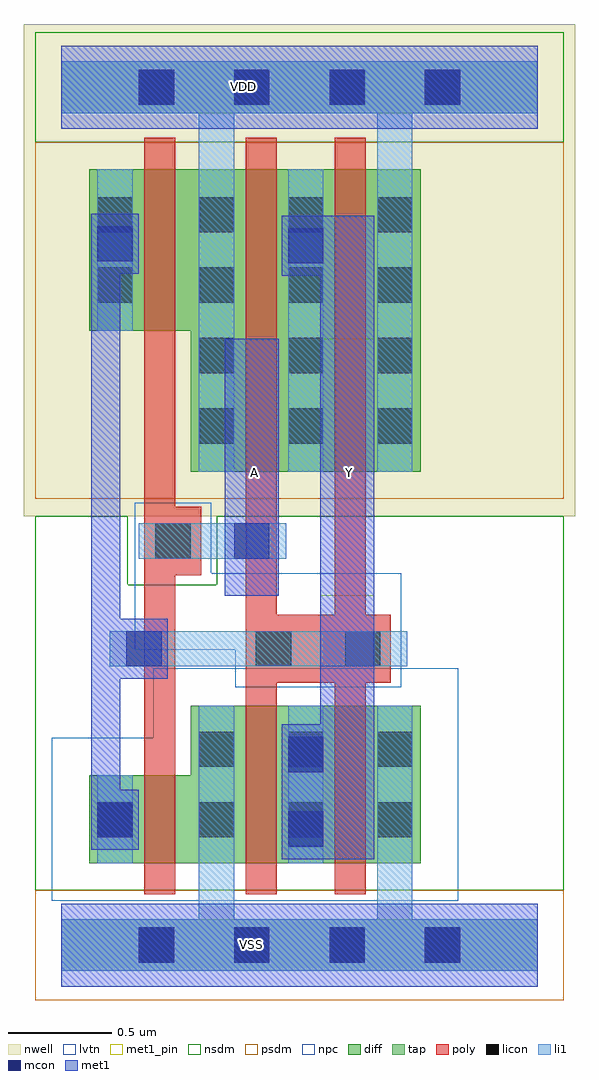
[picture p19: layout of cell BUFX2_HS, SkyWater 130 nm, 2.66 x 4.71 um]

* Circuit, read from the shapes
.subckt BUFX2_HS A VDD VSS Y
XM1 VSS A n1 VSS sky130_fd_pr__nfet_01v8_lvt w=0.425 l=0.15
XM2 Y n1 VSS VSS sky130_fd_pr__nfet_01v8_lvt w=0.76 l=0.15 m=2
XM3 VDD A n1 VDD sky130_fd_pr__pfet_01v8 w=0.78 l=0.15
XM4 Y n1 VDD VDD sky130_fd_pr__pfet_01v8 w=1.46 l=0.15 m=2
.ends

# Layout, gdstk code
from math import pi, radians
import gdstk
lib = gdstk.Library(unit=1e-6, precision=1e-09)
def R(c, l, rs):  # rectangles x0, y0, x1, y1
    for r in rs: c.add(gdstk.rectangle(r[:2], r[2:], *l))
def A(c, l, x, y, w, h, nx, ny, dx, dy):  # array of equal rectangles
    R(c, l, [(x+i*dx, y+j*dy, x+i*dx+w, y+j*dy+h) for i in range(nx) for j in range(ny)])
def P(c, l, *ps):  # polygons
    for p in ps: c.add(gdstk.Polygon(p, *l))
nwell = (64, 20)
diff = (65, 20)
tap = (65, 44)
poly = (66, 20)
licon = (66, 44)
li1 = (67, 20)
mcon = (67, 44)
met1_pin = (68, 16)
met1 = (68, 20)
nsdm = (93, 44)
psdm = (94, 20)
npc = (95, 20)
lvtn = (125, 44)

pyl1con_c_cdns_750721774 = lib.new_cell('PYL1CON_C_CDNS_750721774073')
R(pyl1con_c_cdns_750721774, poly, [(-0.135,-0.165,0.135,0.165)])
R(pyl1con_c_cdns_750721774, licon, [(-0.085,-0.085,0.085,0.085)])
R(pyl1con_c_cdns_750721774, npc, [(-0.185,-0.185,0.185,0.185)])

l1m1_c_cdns_750721774076 = lib.new_cell('L1M1_C_CDNS_750721774076')
R(l1m1_c_cdns_750721774076, li1, [(-0.085,-0.345,0.085,0.345)])
R(l1m1_c_cdns_750721774076, mcon, [(-0.085,-0.265,0.085,-0.095), (-0.085,0.095,0.085,0.265)])
R(l1m1_c_cdns_750721774076, met1, [(-0.115,-0.325,0.115,0.325)])

l1m1_c_cdns_750721774072 = lib.new_cell('L1M1_C_CDNS_750721774072')
R(l1m1_c_cdns_750721774072, li1, [(-0.085,-0.165,0.085,0.165)])
R(l1m1_c_cdns_750721774072, mcon, [(-0.085,-0.085,0.085,0.085)])
R(l1m1_c_cdns_750721774072, met1, [(-0.115,-0.145,0.115,0.145)])

l1m1_c_cdns_750721774074 = lib.new_cell('L1M1_C_CDNS_750721774074')
R(l1m1_c_cdns_750721774074, li1, [(-0.165,-0.085,0.165,0.085)])
R(l1m1_c_cdns_750721774074, mcon, [(-0.085,-0.085,0.085,0.085)])
R(l1m1_c_cdns_750721774074, met1, [(-0.115,-0.145,0.115,0.145)])

c_l1m1_c_cdns_750721774072 = lib.new_cell('L1M1_C_CDNS_7507217740724')
R(c_l1m1_c_cdns_750721774072, li1, [(-0.115,-0.165,0.055,0.165)])
R(c_l1m1_c_cdns_750721774072, mcon, [(-0.115,-0.085,0.055,0.085)])
R(c_l1m1_c_cdns_750721774072, met1, [(-0.145,-0.145,0.085,0.145)])

bufx2_hs = lib.new_cell('BUFX2_HS')
R(bufx2_hs, nwell, [(-0.18,2.07,2.48,4.305), (0.445,2.105,1.915,3.925), (-0.045,2.785,0.805,3.925), (-0.18,3.875,2.48,4.445)])
R(bufx2_hs, diff, [(0.135,0.395,0.4,0.82), (0.4,0.395,0.55,0.82), (0.55,0.395,0.625,0.82), (0.625,0.395,0.89,1.155), (0.89,0.395,1.04,1.155), (1.04,0.395,1.32,1.155), (1.32,0.395,1.47,1.155), (1.47,0.395,1.735,1.155), (0.625,2.285,0.89,3.745), (0.89,2.285,1.04,3.745), (1.04,2.285,1.32,3.745), (1.32,2.285,1.47,3.745), (1.47,2.285,1.735,3.745), (0.135,2.965,0.4,3.745), (0.4,2.965,0.55,3.745), (0.55,2.965,0.625,3.745)])
R(bufx2_hs, poly, [(0.4,0.245,0.55,0.3), (0.89,0.245,1.04,0.3), (1.32,0.245,1.47,0.3), (0.4,0.3,0.55,0.395), (0.89,0.3,1.04,0.395), (1.32,0.3,1.47,0.395), (0.4,0.395,0.55,0.82), (0.89,0.395,1.04,1.155), (1.32,0.395,1.47,1.155), (0.4,0.82,0.55,0.915), (0.4,0.915,0.55,0.97), (0.89,1.155,1.04,1.25), (1.32,1.155,1.47,1.25), (0.89,1.25,1.04,1.305), (1.32,1.25,1.47,1.305), (0.89,1.265,1.59,1.595), (0.89,2.135,1.04,2.19), (1.32,2.135,1.47,2.19), (0.89,2.19,1.04,2.285), (1.32,2.19,1.47,2.285), (0.89,2.285,1.04,3.745), (1.32,2.285,1.47,3.745), (0.4,2.815,0.55,2.87), (0.4,2.87,0.55,2.965), (0.4,2.965,0.55,3.745), (0.4,3.745,0.55,3.84), (0.89,3.745,1.04,3.84), (1.32,3.745,1.47,3.84), (0.4,3.84,0.55,3.895), (0.89,3.84,1.04,3.895), (1.32,3.84,1.47,3.895)])
A(bufx2_hs, licon, 0.375, -0.085, 0.17, 0.17, 4, 2, 0.46, 4.14)
A(bufx2_hs, licon, 0.665, 0.52, 0.17, 0.17, 3, 2, 0.43, 0.34)
A(bufx2_hs, licon, 0.665, 2.42, 0.17, 0.17, 3, 4, 0.43, 0.34)
R(bufx2_hs, licon, [(0.175,0.52,0.345,0.69), (0.175,3.1,0.345,3.27), (0.175,3.44,0.345,3.61)])
A(bufx2_hs, li1, 0.665, 0.395, 0.17, 0.76, 3, 1, 0.43, 0)
A(bufx2_hs, li1, 0.665, 2.285, 0.17, 1.46, 3, 1, 0.43, 0)
R(bufx2_hs, li1, [(0.175,0.395,0.345,0.82), (0.175,2.965,0.345,3.745)])
A(bufx2_hs, mcon, 0.375, -0.085, 0.17, 0.17, 4, 2, 0.46, 4.14)
R(bufx2_hs, met1_pin, [(0.79,1.685,1.05,2.925), (1.25,1.685,1.51,2.925)])
R(bufx2_hs, nsdm, [(-0.005,0.265,0.505,0.95), (0.485,0.265,1.875,1.285), (-0.125,3.875,2.425,4.405), (-0.125,3.93,2.425,4.35)])
P(bufx2_hs, nsdm, [(2.425,2.07),(0.75,2.07),(0.75,1.74),(0.32,1.74),(0.32,2.07),(-0.125,2.07),(-0.125,0.265),(2.425,0.265)])
R(bufx2_hs, psdm, [(-0.125,-0.265,2.425,0.265), (-0.125,-0.21,2.425,0.21), (-0.125,2.155,2.425,3.875), (0.485,2.155,1.875,3.875), (-0.005,2.835,0.505,3.875)])
R(bufx2_hs, npc, [(0.84,1.245,1.64,1.795), (0.355,1.425,1.64,1.795)])
R(bufx2_hs, lvtn, [(-0.045,0.215,0.805,1), (0.445,0.215,1.915,1.335)])
bufx2_hs.add(gdstk.FlexPath([(0.475,0.97),(0.475,2.815)], 0.15, ends="flush", simple_path=True, layer=66, datatype=20))  # poly
bufx2_hs.add(gdstk.FlexPath([(1.395,2.135),(1.395,1.305)], 0.15, ends="flush", simple_path=True, layer=66, datatype=20))  # poly
bufx2_hs.add(gdstk.FlexPath([(0.965,2.135),(0.965,1.305)], 0.15, ends="flush", simple_path=True, layer=66, datatype=20))  # poly
bufx2_hs.add(gdstk.FlexPath([(1.61,0.59),(1.61,0)], 0.17, ends=(0, 0.125), simple_path=True, layer=67, datatype=20))  # li1
bufx2_hs.add(gdstk.FlexPath([(0.75,0),(0.69,0)], 0.17, ends=(0.085, 0), simple_path=True, layer=67, datatype=20))  # li1
bufx2_hs.add(gdstk.FlexPath([(0.75,0.59),(0.75,0)], 0.17, ends=(0, 0.125), simple_path=True, layer=67, datatype=20))  # li1
bufx2_hs.add(gdstk.FlexPath([(1.61,3.55),(1.61,4.14)], 0.17, ends=(0, 0.125), simple_path=True, layer=67, datatype=20))  # li1
bufx2_hs.add(gdstk.FlexPath([(0.75,4.14),(0.69,4.14)], 0.17, ends=(0.085, 0), simple_path=True, layer=67, datatype=20))  # li1
bufx2_hs.add(gdstk.FlexPath([(1.61,0),(2.3,0)], 0.25, ends=(0.085, 0), simple_path=True, layer=67, datatype=20))  # li1
bufx2_hs.add(gdstk.FlexPath([(0.92,1.95),(0.71,1.95)], 0.17, ends="flush", simple_path=True, layer=67, datatype=20))  # li1
bufx2_hs.add(gdstk.FlexPath([(0,4.14),(0.75,4.14)], 0.25, ends=(0, 0.085), simple_path=True, layer=67, datatype=20))  # li1
bufx2_hs.add(gdstk.FlexPath([(0.71,1.95),(0.375,1.95)], 0.17, ends="flush", simple_path=True, layer=67, datatype=20))  # li1
bufx2_hs.add(gdstk.FlexPath([(0.75,4.14),(1.61,4.14)], 0.25, ends=(0.085, 0.085), simple_path=True, layer=67, datatype=20))  # li1
bufx2_hs.add(gdstk.FlexPath([(0.75,3.55),(0.75,4.14)], 0.17, ends=(0, 0.125), simple_path=True, layer=67, datatype=20))  # li1
bufx2_hs.add(gdstk.FlexPath([(0.75,0),(1.61,0)], 0.25, ends=(0.085, 0.085), simple_path=True, layer=67, datatype=20))  # li1
bufx2_hs.add(gdstk.FlexPath([(0.305,1.43),(1.67,1.43)], 0.17, ends="flush", simple_path=True, layer=67, datatype=20))  # li1
bufx2_hs.add(gdstk.FlexPath([(1.61,4.14),(2.3,4.14)], 0.25, ends=(0.085, 0), simple_path=True, layer=67, datatype=20))  # li1
bufx2_hs.add(gdstk.FlexPath([(0,0),(0.75,0)], 0.25, ends=(0, 0.085), simple_path=True, layer=67, datatype=20))  # li1
bufx2_hs.add(gdstk.FlexPath([(0.92,1.685),(0.92,2.925)], 0.26, ends="flush", simple_path=True, layer=68, datatype=20))  # met1
bufx2_hs.add(gdstk.FlexPath([(0.215,0.8),(0.23,0.8)], 0.14, ends=(0.07, 0), simple_path=True, layer=68, datatype=20))  # met1
bufx2_hs.add(gdstk.FlexPath([(1.38,0.415),(1.38,3.52)], 0.26, ends="flush", simple_path=True, layer=68, datatype=20))  # met1
bufx2_hs.add(gdstk.FlexPath([(0,0),(2.3,0)], 0.4, ends="flush", simple_path=True, layer=68, datatype=20))  # met1
bufx2_hs.add(gdstk.FlexPath([(0.215,3.46),(0.215,0.8)], 0.14, ends="extended", simple_path=True, layer=68, datatype=20))  # met1
bufx2_hs.add(gdstk.FlexPath([(0,4.14),(2.3,4.14)], 0.4, ends="flush", simple_path=True, layer=68, datatype=20))  # met1
bufx2_hs.add(gdstk.FlexPath([(0,4.14),(2.3,4.14)], 0.25, ends="flush", simple_path=True, layer=65, datatype=44))  # tap
bufx2_hs.add(gdstk.FlexPath([(0,0),(2.3,0)], 0.25, ends="flush", simple_path=True, layer=65, datatype=44))  # tap
bufx2_hs.add(gdstk.FlexPath([(0,4.14),(2.3,4.14)], 0.4, ends="flush", simple_path=True, layer=68, datatype=16))  # met1_pin
bufx2_hs.add(gdstk.FlexPath([(0,0),(2.3,0)], 0.4, ends="flush", simple_path=True, layer=68, datatype=16))  # met1_pin
bufx2_hs.add(gdstk.Reference(pyl1con_c_cdns_750721774, (1.025,1.43), rotation=pi))
bufx2_hs.add(gdstk.Reference(pyl1con_c_cdns_750721774, (0.54,1.95), x_reflection=True))
bufx2_hs.add(gdstk.Reference(pyl1con_c_cdns_750721774, (1.455,1.43), rotation=pi))
bufx2_hs.add(gdstk.Reference(l1m1_c_cdns_750721774076, (1.18,0.74)))
bufx2_hs.add(gdstk.Reference(l1m1_c_cdns_750721774072, (0.26,3.385), rotation=pi, x_reflection=True))
bufx2_hs.add(gdstk.Reference(l1m1_c_cdns_750721774072, (1.18,3.375)))
bufx2_hs.add(gdstk.Reference(l1m1_c_cdns_750721774074, (0.4,1.43)))
bufx2_hs.add(gdstk.Reference(l1m1_c_cdns_750721774074, (0.92,1.95), x_reflection=True))
bufx2_hs.add(gdstk.Reference(c_l1m1_c_cdns_750721774072, (0.23,0.605), rotation=pi, x_reflection=True))
bufx2_hs.add(gdstk.Label('Y', (1.39,2.28), layer=68, texttype=5))
bufx2_hs.add(gdstk.Label('A', (0.935,2.28), layer=68, texttype=5))
bufx2_hs.add(gdstk.Label('VDD', (0.88,4.145), layer=68, texttype=5))
bufx2_hs.add(gdstk.Label('VSS', (0.92,0.005), layer=68, texttype=5))

lib.write_gds('BUFX2_HS.gds')
